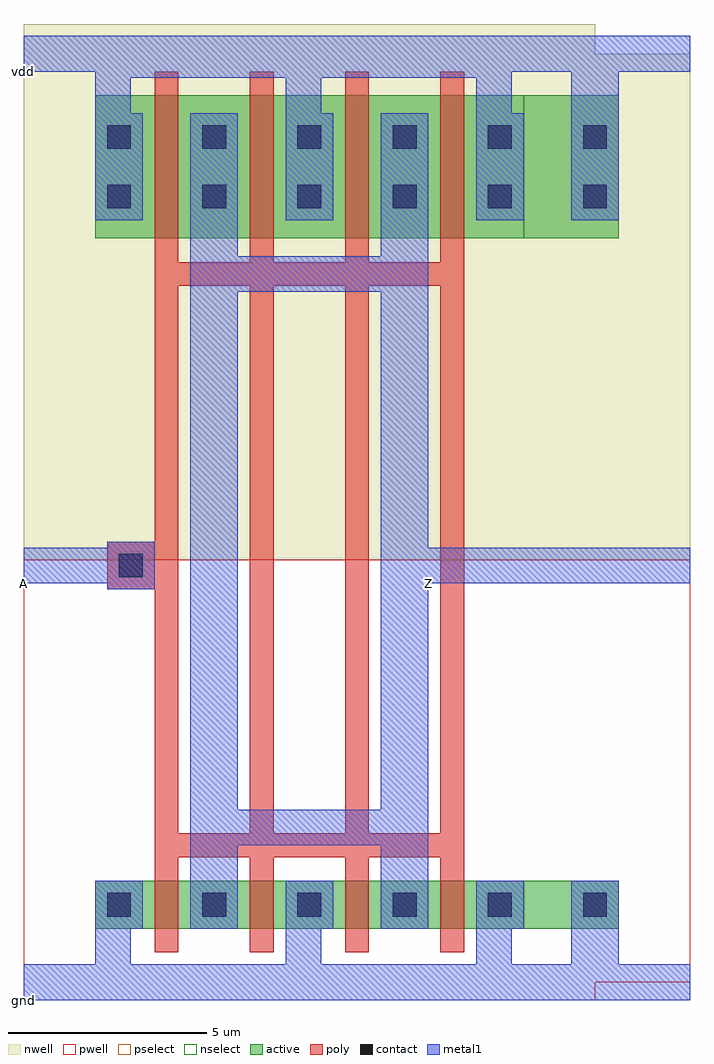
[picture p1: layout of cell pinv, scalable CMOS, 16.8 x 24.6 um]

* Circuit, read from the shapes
.subckt pinv A Z gnd vdd
M1 Z A gnd gnd nfet w=1.2u l=0.6u m=4
M2 Z A vdd vdd pfet w=3.6u l=0.6u m=4
.ends

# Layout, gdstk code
from math import pi, radians
import gdstk
lib = gdstk.Library(unit=1e-6, precision=1e-09)
def R(c, l, rs):  # rectangles x0, y0, x1, y1
    for r in rs: c.add(gdstk.rectangle(r[:2], r[2:], *l))
def A(c, l, x, y, w, h, nx, ny, dx, dy):  # array of equal rectangles
    R(c, l, [(x+i*dx, y+j*dy, x+i*dx+w, y+j*dy+h) for i in range(nx) for j in range(ny)])
contact = (25, 0)
pwell = (41, 0)
nwell = (42, 0)
active = (43, 0)
pselect = (44, 0)
nselect = (45, 0)
poly = (46, 0)
metal1 = (49, 0)

active_contact_metal1_1x = lib.new_cell('active_contact_metal1_1x1')
R(active_contact_metal1_1x, contact, [(0.3,0.3,0.9,0.9)])
R(active_contact_metal1_1x, active, [(0,0,1.2,1.2)])
R(active_contact_metal1_1x, metal1, [(0,0,1.2,1.2)])

path_2 = lib.new_cell('path_2')
R(path_2, metal1, [(-0.45,0,0.45,2.1), (4.35,0,5.25,2.1), (4.35,0,5.25,2.55), (9.15,0,10.05,2.55), (-0.45,2.1,0.45,3), (-0.45,2.1,0.45,2.55), (0,2.1,4.8,3), (4.35,2.1,5.25,3), (4.35,2.1,5.25,3), (4.35,2.1,5.25,2.55), (4.8,2.1,9.6,3), (9.15,2.1,10.05,3)])

path_3 = lib.new_cell('path_3')
R(path_3, metal1, [(-0.45,-1.8,0.45,-0.9), (0,-1.8,4.8,-0.9), (4.35,-1.8,5.25,-0.9), (-0.45,-1.35,0.45,-0.9), (4.35,-1.35,5.25,0), (-0.45,-0.9,0.45,0)])

nmos_m4_w1_2 = lib.new_cell('nmos_m4_w1.2')
R(nmos_m4_w1_2, pwell, [(0,0,14.4,4.8)])
R(nmos_m4_w1_2, active, [(1.8,1.8,12.6,3)])
R(nmos_m4_w1_2, nselect, [(1.8,1.8,12.6,3)])
A(nmos_m4_w1_2, poly, 3.3, 1.2, 0.6, 2.4, 4, 1, 2.4, 0)
R(nmos_m4_w1_2, poly, [(3.3,0.6,11.1,1.2)])
nmos_m4_w1_2.add(gdstk.Reference(active_contact_metal1_1x, (1.8,1.8)))
nmos_m4_w1_2.add(gdstk.Reference(active_contact_metal1_1x, (4.2,1.8)))
nmos_m4_w1_2.add(gdstk.Reference(active_contact_metal1_1x, (6.6,1.8)))
nmos_m4_w1_2.add(gdstk.Reference(active_contact_metal1_1x, (9,1.8)))
nmos_m4_w1_2.add(gdstk.Reference(active_contact_metal1_1x, (11.4,1.8)))
nmos_m4_w1_2.add(gdstk.Reference(path_2, (2.25,1.8)))
nmos_m4_w1_2.add(gdstk.Reference(path_3, (4.65,1.8)))

c_active_contact_metal1_1x = lib.new_cell('active_contact_metal1_1x2')
R(c_active_contact_metal1_1x, contact, [(0.3,0.3,0.9,0.9), (0.3,1.8,0.9,2.4)])
R(c_active_contact_metal1_1x, active, [(0,0,1.2,2.7)])
R(c_active_contact_metal1_1x, metal1, [(0,0,1.2,2.7)])

path_4 = lib.new_cell('path_4')
R(path_4, metal1, [(-0.45,0,0.45,2.85), (4.35,0,5.25,2.85), (4.35,0,5.25,3.3), (9.15,0,10.05,3.3), (-0.45,2.85,0.45,3.75), (-0.45,2.85,0.45,3.3), (0,2.85,4.8,3.75), (4.35,2.85,5.25,3.75), (4.35,2.85,5.25,3.75), (4.35,2.85,5.25,3.3), (4.8,2.85,9.6,3.75), (9.15,2.85,10.05,3.75)])

path_5 = lib.new_cell('path_5')
R(path_5, metal1, [(-0.45,-2.55,0.45,-1.65), (0,-2.55,4.8,-1.65), (4.35,-2.55,5.25,-1.65), (-0.45,-2.1,0.45,-1.65), (4.35,-2.1,5.25,0), (-0.45,-1.65,0.45,0)])

pmos_m4_w3_6 = lib.new_cell('pmos_m4_w3.6')
R(pmos_m4_w3_6, nwell, [(0,0,14.4,7.2)])
R(pmos_m4_w3_6, active, [(1.8,1.8,12.6,5.4)])
R(pmos_m4_w3_6, pselect, [(1.8,1.8,12.6,5.4)])
A(pmos_m4_w3_6, poly, 3.3, 1.2, 0.6, 4.8, 4, 1, 2.4, 0)
R(pmos_m4_w3_6, poly, [(3.3,0.6,11.1,1.2)])
pmos_m4_w3_6.add(gdstk.Reference(c_active_contact_metal1_1x, (1.8,2.25)))
pmos_m4_w3_6.add(gdstk.Reference(c_active_contact_metal1_1x, (4.2,2.25)))
pmos_m4_w3_6.add(gdstk.Reference(c_active_contact_metal1_1x, (6.6,2.25)))
pmos_m4_w3_6.add(gdstk.Reference(c_active_contact_metal1_1x, (9,2.25)))
pmos_m4_w3_6.add(gdstk.Reference(c_active_contact_metal1_1x, (11.4,2.25)))
pmos_m4_w3_6.add(gdstk.Reference(path_4, (2.25,3)))
pmos_m4_w3_6.add(gdstk.Reference(path_5, (4.65,3)))

poly_contact_metal1_1x1 = lib.new_cell('poly_contact_metal1_1x1')
R(poly_contact_metal1_1x1, contact, [(0.3,0.3,0.9,0.9)])
R(poly_contact_metal1_1x1, poly, [(0,0,1.2,1.2)])
R(poly_contact_metal1_1x1, metal1, [(0,0,1.2,1.2)])

pinv = lib.new_cell('pinv')
R(pinv, pwell, [(0,0,16.8,10.65)])
R(pinv, nwell, [(0,10.65,16.8,23.4)])
R(pinv, active, [(1.8,1.35,15,2.55), (1.8,18.75,15,22.35)])
R(pinv, pselect, [(12.6,1.35,15,2.55)])
R(pinv, nselect, [(12.6,18.75,15,22.35)])
A(pinv, poly, 3.3, 3.15, 0.6, 15, 4, 1, 2.4, 0)
R(pinv, poly, [(3.3,9.9,3.9,11.1)])
R(pinv, metal1, [(0,-0.45,16.8,0.45), (13.8,0.45,15,2.25), (4.2,2.55,5.4,19.35), (9,2.55,10.2,19.35), (0,10.05,2.1,10.95), (10.2,10.05,16.8,10.95), (13.8,19.2,15,22.95), (0,22.95,16.8,23.85)])
pinv.add(gdstk.Reference(nmos_m4_w1_2, (0,4.35), x_reflection=True))
pinv.add(gdstk.Reference(pmos_m4_w3_6, (0,16.95)))
pinv.add(gdstk.Reference(c_active_contact_metal1_1x, (13.8,19.2)))
pinv.add(gdstk.Reference(active_contact_metal1_1x, (13.8,1.35)))
pinv.add(gdstk.Reference(poly_contact_metal1_1x1, (3.3,9.9), rotation=pi/2))
pinv.add(gdstk.Label('gnd', (0,-0.45), layer=49, texttype=0))
pinv.add(gdstk.Label('vdd', (0,22.95), layer=49, texttype=0))
pinv.add(gdstk.Label('A', (0,10.05), layer=49, texttype=0))
pinv.add(gdstk.Label('Z', (10.2,10.05), layer=49, texttype=0))

lib.write_gds('pinv.gds')
